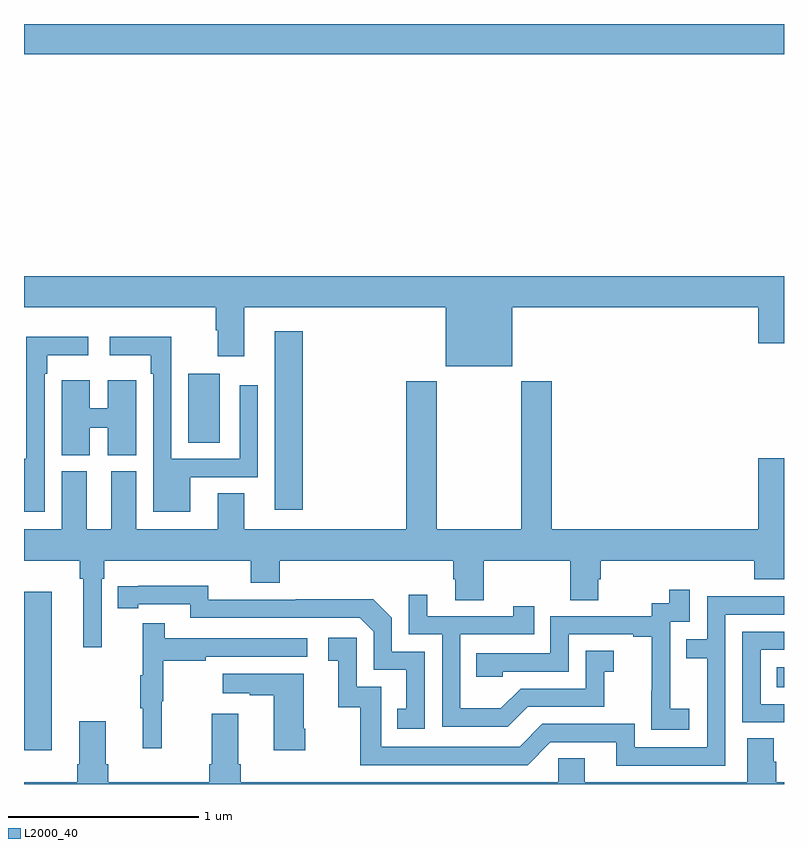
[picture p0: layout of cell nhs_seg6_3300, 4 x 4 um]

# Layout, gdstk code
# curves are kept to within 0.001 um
import gdstk
lib = gdstk.Library(unit=1e-6, precision=1e-09)
def R(c, l, rs):  # rectangles x0, y0, x1, y1
    for r in rs: c.add(gdstk.rectangle(r[:2], r[2:], *l))
def P(c, l, *ps):  # polygons
    for p in ps: c.add(gdstk.Polygon(p, *l))
L2000_40 = (2000, 40)

nhs_seg6_3300 = lib.new_cell('nhs_seg6_3300')
R(nhs_seg6_3300, L2000_40, [(305,939.678,305.146,940.513), (308.962,940.01,309,940.114), (306.32,940.944,306.467,941.884), (305.864,941.296,306.031,941.659), (305,943.34,309,943.5)])
P(nhs_seg6_3300, L2000_40, [(307.57,942.008),(308.864,942.008),(308.864,941.82),(309,941.82),(309,942.172),(305,942.172),(305,942.008),(306.008,942.008),(306.008,941.888),(306.02,941.888),(306.02,941.751),(306.16,941.751),(306.16,942.008),(307.22,942.008),(307.22,941.699),(307.57,941.699)],
  [(305.875,941.115),(306.231,941.115),(306.231,941.599),(306.135,941.599),(306.135,941.211),(305.775,941.211),(305.775,941.854),(305.451,941.854),(305.451,941.756),(305.667,941.756),(305.667,941.66),(305.679,941.66),(305.679,940.934),(305.875,940.934)],
  [(305.109,941.66),(305.122,941.66),(305.122,941.756),(305.338,941.756),(305.338,941.854),(305.013,941.854),(305.013,941.211),(305,941.211),(305,940.934),(305.109,940.934)],
  [(305.347,941.374),(305.441,941.374),(305.441,941.23),(305.59,941.23),(305.59,941.626),(305.441,941.626),(305.441,941.477),(305.347,941.477),(305.347,941.626),(305.198,941.626),(305.198,941.23),(305.347,941.23)],
  [(305.329,941.145),(305.198,941.145),(305.198,940.84),(305,940.84),(305,940.676),(305.293,940.676),(305.293,940.58),(305.312,940.58),(305.312,940.221),(305.409,940.221),(305.409,940.58),(305.423,940.58),(305.423,940.676),(306.194,940.676),(306.194,940.559),(306.347,940.559),(306.347,940.676),(307.259,940.676),(307.259,940.578),(307.271,940.578),(307.271,940.468),(307.419,940.468),(307.419,940.676),(307.876,940.676),(307.876,940.468),(308.023,940.468),(308.023,940.578),(308.036,940.578),(308.036,940.676),(308.843,940.676),(308.843,940.577),(309,940.577),(309,941.215),(308.864,941.215),(308.864,940.84),(307.778,940.84),(307.778,941.62),(307.618,941.62),(307.618,940.84),(307.173,940.84),(307.173,941.62),(307.013,941.62),(307.013,940.84),(306.16,940.84),(306.16,941.03),(306.02,941.03),(306.02,940.84),(305.59,940.84),(305.59,941.145),(305.459,941.145),(305.459,940.84),(305.329,940.84)],
  [(307.11,940.197),(306.936,940.197),(306.936,940.374),(306.838,940.472),(306.43,940.472),(306.43,940.47),(305.97,940.47),(305.97,940.543),(305.494,940.542),(305.494,940.426),(305.602,940.426),(305.602,940.446),(305.874,940.446),(305.874,940.374),(306.768,940.374),(306.84,940.302),(306.84,940.101),(307.013,940.101),(307.013,939.897),(306.964,939.897),(306.964,939.792),(307.11,939.792)],
  [(308.5,939.895),(308.402,939.895),(308.402,940.124),(308.4,940.124),(308.4,940.353),(308.505,940.353),(308.505,940.522),(308.397,940.522),(308.397,940.452),(308.304,940.452),(308.304,940.383),(307.77,940.383),(307.77,940.188),(307.381,940.188),(307.381,940.065),(307.521,940.065),(307.521,940.092),(307.866,940.092),(307.866,940.287),(308.207,940.287),(308.207,940.275),(308.303,940.275),(308.303,939.991),(308.302,939.991),(308.302,939.785),(308.5,939.785)],
  [(307.651,939.906),(308.055,939.906),(308.055,940.091),(308.104,940.091),(308.104,940.201),(307.956,940.201),(307.956,940.002),(307.614,940.002),(307.51,939.898),(307.296,939.898),(307.296,940.287),(307.685,940.287),(307.685,940.435),(307.574,940.435),(307.574,940.383),(307.123,940.383),(307.123,940.495),(307.026,940.495),(307.026,940.287),(307.2,940.287),(307.2,939.801),(307.546,939.801)],
  [(308.691,940.392),(309,940.392),(309,940.488),(308.595,940.488),(308.595,940.263),(308.485,940.263),(308.485,940.162),(308.595,940.162),(308.595,939.693),(308.214,939.693),(308.214,939.816),(307.728,939.816),(307.608,939.696),(306.879,939.696),(306.879,940.011),(306.75,940.011),(306.75,940.27),(306.6,940.27),(306.6,940.149),(306.653,940.149),(306.653,939.903),(306.771,939.903),(306.771,939.6),(307.65,939.6),(307.77,939.72),(308.117,939.72),(308.117,939.597),(308.691,939.597)],
  [(305.726,939.936),(305.734,939.936),(305.734,940.15),(305.957,940.15),(305.957,940.17),(306.49,940.17),(306.49,940.266),(305.741,940.266),(305.741,940.345),(305.624,940.345),(305.624,940.073),(305.613,940.073),(305.613,939.899),(305.624,939.899),(305.624,939.687),(305.726,939.687)],
  [(309,939.921),(308.877,939.921),(308.877,940.206),(309,940.206),(309,940.302),(308.781,940.302),(308.781,939.825),(309,939.825)],
  [(306.48,939.79),(306.472,939.79),(306.472,940.081),(306.045,940.081),(306.045,939.977),(306.188,939.977),(306.188,939.967),(306.314,939.967),(306.314,939.678),(306.48,939.678)],
  [(309,939.508),(308.96,939.508),(308.96,939.617),(308.946,939.617),(308.946,939.74),(308.807,939.74),(308.807,939.508),(307.951,939.508),(307.951,939.635),(307.812,939.635),(307.812,939.508),(306.14,939.508),(306.14,939.604),(306.127,939.604),(306.127,939.871),(305.987,939.871),(305.987,939.604),(305.975,939.604),(305.975,939.508),(305.444,939.508),(305.444,939.604),(305.431,939.604),(305.431,939.829),(305.291,939.829),(305.291,939.604),(305.279,939.604),(305.279,939.508),(305,939.508),(305,939.5),(309,939.5)])

lib.write_gds('nhs_seg6_3300.gds')
